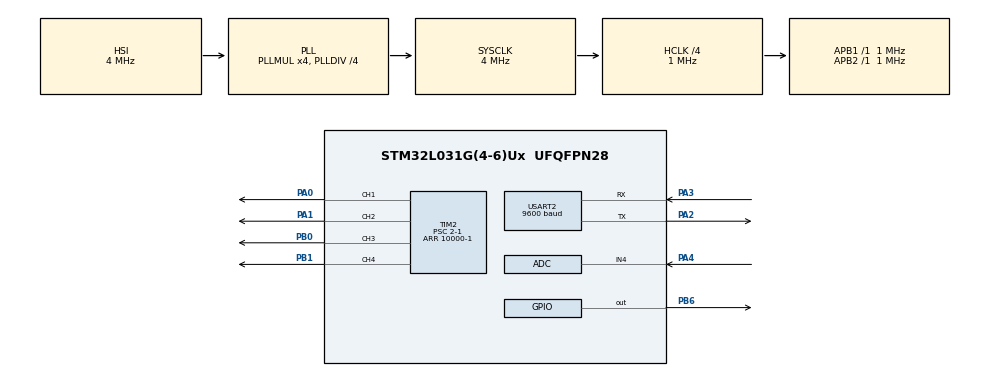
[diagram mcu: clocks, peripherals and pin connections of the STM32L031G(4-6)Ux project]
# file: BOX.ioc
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ADC.ClockPrescaler=ADC_CLOCK_SYNC_PCLK_DIV4
ADC.ContinuousConvMode=DISABLE
ADC.DMAContinuousRequests=DISABLE
ADC.ExternalTrigConv=ADC_SOFTWARE_START
ADC.SamplingTime=ADC_SAMPLETIME_3CYCLES_5
Mcu.Family=STM32L0
Mcu.Name=STM32L031G(4-6)Ux
Mcu.Package=UFQFPN28
PA0-CK_IN.Signal=S_TIM2_CH1
PA1.Signal=S_TIM2_CH2
PA13.Mode=Serial_Wire
PA13.Signal=SYS_SWDIO
PA14.Mode=Serial_Wire
PA14.Signal=SYS_SWCLK
PA2.Mode=Multiprocessor_communication
PA2.Signal=USART2_TX
PA3.Mode=Multiprocessor_communication
PA3.Signal=USART2_RX
PA4.Mode=IN4
PA4.Signal=ADC_IN4
PB0.Signal=S_TIM2_CH3
PB1.Signal=S_TIM2_CH4
PB6.GPIO_PuPd=GPIO_NOPULL
PB6.PinState=GPIO_PIN_RESET
PB6.Signal=GPIO_Output
ProjectManager.HeapSize=0x200
ProjectManager.StackSize=0x400
ProjectManager.TargetToolchain=STM32CubeIDE
RCC.ADCFreq_Value=4000000
RCC.AHBCLKDivider=RCC_SYSCLK_DIV4
RCC.AHBFreq_Value=1000000
RCC.APB1Freq_Value=1000000
RCC.APB1TimFreq_Value=1000000
RCC.APB2Freq_Value=1000000
RCC.APB2TimFreq_Value=1000000
RCC.HCLKFreq_Value=1000000
RCC.HSE_VALUE=8000000
RCC.HSI16_VALUE=16000000
RCC.HSIRCDiv=4
RCC.HSI_VALUE=4000000
RCC.LSE_VALUE=32768
RCC.MSI_VALUE=2097000
RCC.PLLDIV=RCC_PLLDIV_4
RCC.PLLMUL=RCC_PLLMUL_4
RCC.SYSCLKFreq_VALUE=4000000
RCC.SYSCLKSource=RCC_SYSCLKSOURCE_PLLCLK
RCC.VCOOutputFreq_Value=16000000
SH.S_TIM2_CH1.0=TIM2_CH1,PWM Generation1 CH1
SH.S_TIM2_CH2.0=TIM2_CH2,PWM Generation2 CH2
SH.S_TIM2_CH3.0=TIM2_CH3,PWM Generation3 CH3
SH.S_TIM2_CH4.0=TIM2_CH4,PWM Generation4 CH4
TIM2.AutoReloadPreload=TIM_AUTORELOAD_PRELOAD_DISABLE
TIM2.Channel-PWM\ Generation1\ CH1=TIM_CHANNEL_1
TIM2.Channel-PWM\ Generation2\ CH2=TIM_CHANNEL_2
TIM2.Channel-PWM\ Generation3\ CH3=TIM_CHANNEL_3
TIM2.Channel-PWM\ Generation4\ CH4=TIM_CHANNEL_4
TIM2.OC2Preload_PWM=DISABLE
TIM2.OC4Preload_PWM=DISABLE
TIM2.OCMode_PWM-PWM\ Generation2\ CH2=TIM_OCMODE_PWM1
TIM2.OCMode_PWM-PWM\ Generation4\ CH4=TIM_OCMODE_PWM1
TIM2.Period=10000-1
TIM2.Prescaler=2-1
TIM2.Pulse-PWM\ Generation2\ CH2=5000-1
TIM2.Pulse-PWM\ Generation3\ CH3=7500-1
TIM2.Pulse-PWM\ Generation4\ CH4=10000-1
USART2.BaudRate=9600
USART2.VirtualMode-Multiprocessor_communication=VM_ASYNC
VP_ADC_TempSens_Input.Mode=IN-TempSens
VP_TIM2_VS_ClockSourceINT.Mode=Internal
board=custom

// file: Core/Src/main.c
/* USER CODE BEGIN Header */
/**
 ******************************************************************************
 * @file           : main.c
 * @brief          : Main program body
 ******************************************************************************
 * @attention
 *
 * Copyright (c) 2024 STMicroelectronics.
 * All rights reserved.
 *
 * This software is licensed under terms that can be found in the LICENSE file
 * in the root directory of this software component.
 * If no LICENSE file comes with this software, it is provided AS-IS.
 *
 ******************************************************************************
 */
/*
 * 协议：
 * PWD:SERV:NUM:OPEN. 开NUM对应的锁
 * PWD:SERV:NUM:CLOSE. 关NUM对应的锁
 * PWD:SYS:0:VOL. 获取电压
 * RES:SUCCESS. 操作成功
 * RES:FAIL:xxx. 操作失败，xxx为错误原因
 * VOL:3900. 返回电压
 */
/* USER CODE END Header */
#include "main.h"
#include "adc.h"
#include "tim.h"
#include "usart.h"
#include "gpio.h"

/* USER CODE BEGIN Includes */
#include <stdio.h>
#include <string.h>
/* USER CODE END Includes */

void SystemClock_Config(void);

/* USER CODE BEGIN 0 */

typedef struct _REQ {
	char pwd[10];
	char type[6];
	char num[6];
	char action[10];
} _req;

void parse_req(char *req, _req *data) {
	if (NULL == req || strlen(req) == 0)
		return;

	bzero(data->pwd, sizeof(data->pwd));
	bzero(data->type, sizeof(data->type));
	bzero(data->num, sizeof(data->num));
	bzero(data->action, sizeof(data->action));

	char *cc = req;
	int i = 0;
	char *token;
	while ((token = strsep(&cc, ":")) != NULL) {
		if (i == 0) {
			if (strlen(token) < sizeof(data->pwd)) {
				strcpy(data->pwd, token);
			}
		} else if (i == 1) {
			if (strlen(token) < sizeof(data->type)) {
				strcpy(data->type, token);
			}
		} else if (i == 2) {
			if (strlen(token) < sizeof(data->num)) {
				strcpy(data->num, token);
			}
		} else if (i == 3) {
			if (strlen(token) < sizeof(data->action)) {
				strcpy(data->action, token);
			}
		} else {
			return;
		}
		i++;
	}
}

uint32_t set_serv_angle(uint32_t channel, int16_t angle) { //20ms 对应 10000 跳， 1ms 500 跳，0度1ms，180度2ms
	//计算脉冲
	if (angle < 0)
		angle = 0;
	if (angle > 180)
		angle = 180;
	uint32_t pulse = 500 + (angle * 500) / 180;

	HAL_GPIO_WritePin(GPIOB, GPIO_PIN_6, GPIO_PIN_SET); //舵机上电
	HAL_Delay(50); //等上电
	HAL_TIM_PWM_Start(&htim2, channel); //开始输出舵机信号
	HAL_Delay(50);
	__HAL_TIM_SET_COMPARE(&htim2, channel, pulse);
	HAL_Delay(500); //等舵机旋转
	HAL_GPIO_WritePin(GPIOB, GPIO_PIN_6, GPIO_PIN_RESET); //舵机下电
	HAL_TIM_PWM_Stop(&htim2, channel); //关闭舵机信号

	return pulse;
}

void send_data(char *str) {
	HAL_UART_Transmit(&huart2, (uint8_t*) str, strlen(str), 1000);
}

uint32_t get_bat_vol() { //满量程 3.12/0.6
	HAL_ADC_Start(&hadc);
	HAL_ADC_PollForConversion(&hadc, 1000);
	uint32_t vol = HAL_ADC_GetValue(&hadc);
	HAL_ADC_Stop(&hadc);
	return ((100 * vol / 4096) * 312 / 6);
}

int opened = 0;
void process(char* data_buff) {
	if (strlen(data_buff) < 4) {
		send_data("RES:FAIL:NOREQ.");
	}
	_req req_data;
	parse_req(data_buff, &req_data);
	if (strcmp(req_data.pwd, "0123") != 0) {
		send_data("RES:FAIL:PWD.");
		return;
	}
	if (strcmp(req_data.type, "SERV") == 0) {
		uint32_t TIM_CHANNEL_X = 0;
		if (strcmp(req_data.num, "1") == 0) {
			TIM_CHANNEL_X = TIM_CHANNEL_1;
		} else if (strcmp(req_data.num, "2") == 0) {
			TIM_CHANNEL_X = TIM_CHANNEL_2;
		} else if (strcmp(req_data.num, "3") == 0) {
			TIM_CHANNEL_X = TIM_CHANNEL_3;
		} else if (strcmp(req_data.num, "4") == 0) {
			TIM_CHANNEL_X = TIM_CHANNEL_4;
		} else {
			send_data("RES:FAIL:NUM.");
			return;
		}
		if (strcmp(req_data.action, "OPEN") == 0) {
			set_serv_angle(TIM_CHANNEL_X, 180);
			opened = 1;
		} else if(strcmp(req_data.action, "CLOSE") == 0) {
			set_serv_angle(TIM_CHANNEL_X, 0);
		} else {
			send_data("RES:FAIL:ACTION.");
			return;
		}
		send_data("RES:SUCCESS.");
	} else if (strcmp(req_data.type, "SYS") == 0) {
		if (strcmp(req_data.action, "VOL") == 0) {
			uint32_t v = get_bat_vol();
			char v_buf[32] = {0};
			sprintf(v_buf, "VOL:%d.", (int)v);
			send_data(v_buf);
		}
	} else {
		send_data("RES:FAIL:TYPE.");
		return;
	}
}

/* USER CODE END 0 */

int main(void) {

	/* MCU Configuration--------------------------------------------------------*/

	/* Reset of all peripherals, Initializes the Flash interface and the Systick. */
	HAL_Init();

	/* Configure the system clock */
	SystemClock_Config();

	/* Initialize all configured peripherals */
	MX_GPIO_Init();
	MX_USART2_UART_Init();
	MX_TIM2_Init();
	MX_ADC_Init();
	/* USER CODE BEGIN 2 */
	HAL_Delay(1000);
	set_serv_angle(TIM_CHANNEL_1, 0);
	set_serv_angle(TIM_CHANNEL_2, 0);
	set_serv_angle(TIM_CHANNEL_3, 0);
	set_serv_angle(TIM_CHANNEL_4, 0);

	char data_buff[40] = { 0 };
	int index = 0;
	char rx_buff[1] = {0};
	/* USER CODE END 2 */

	/* Infinite loop */
	/* USER CODE BEGIN WHILE */
	while (1) {
		if (opened > 0) { //门打开状态
			opened++;
			if (opened > 60) { //打开太久了
				set_serv_angle(TIM_CHANNEL_1, 0);
				set_serv_angle(TIM_CHANNEL_2, 0);
				set_serv_angle(TIM_CHANNEL_3, 0);
				opened = 0;
			}
		}
		if (HAL_UART_Receive(&huart2, (uint8_t*)rx_buff, sizeof(rx_buff), 1000) == HAL_OK) {
			if (rx_buff[0] != '.' && index < sizeof(data_buff)) {
				data_buff[index++] = rx_buff[0];
			} else if (rx_buff[0] == '.') {
				process(data_buff);
				bzero(data_buff, sizeof(data_buff));
				index = 0;
			} else {
				send_data("RES:FAIL:LEN.");
			}
		}
		/* USER CODE END WHILE */

	}
}

void SystemClock_Config(void) {
	RCC_OscInitTypeDef RCC_OscInitStruct = { 0 };
	RCC_ClkInitTypeDef RCC_ClkInitStruct = { 0 };
	RCC_PeriphCLKInitTypeDef PeriphClkInit = { 0 };

	/** Configure the main internal regulator output voltage
	 */
	__HAL_PWR_VOLTAGESCALING_CONFIG(PWR_REGULATOR_VOLTAGE_SCALE1);

	/** Initializes the RCC Oscillators according to the specified parameters
	 * in the RCC_OscInitTypeDef structure.
	 */
	RCC_OscInitStruct.OscillatorType = RCC_OSCILLATORTYPE_HSI;
	RCC_OscInitStruct.HSIState = RCC_HSI_DIV4;
	RCC_OscInitStruct.HSICalibrationValue = RCC_HSICALIBRATION_DEFAULT;
	RCC_OscInitStruct.PLL.PLLState = RCC_PLL_ON;
	RCC_OscInitStruct.PLL.PLLSource = RCC_PLLSOURCE_HSI;
	RCC_OscInitStruct.PLL.PLLMUL = RCC_PLLMUL_4;
	RCC_OscInitStruct.PLL.PLLDIV = RCC_PLLDIV_4;
	if (HAL_RCC_OscConfig(&RCC_OscInitStruct) != HAL_OK) {
		Error_Handler();
	}

	/** Initializes the CPU, AHB and APB buses clocks
	 */
	RCC_ClkInitStruct.ClockType = RCC_CLOCKTYPE_HCLK | RCC_CLOCKTYPE_SYSCLK
			| RCC_CLOCKTYPE_PCLK1 | RCC_CLOCKTYPE_PCLK2;
	RCC_ClkInitStruct.SYSCLKSource = RCC_SYSCLKSOURCE_PLLCLK;
	RCC_ClkInitStruct.AHBCLKDivider = RCC_SYSCLK_DIV4;
	RCC_ClkInitStruct.APB1CLKDivider = RCC_HCLK_DIV1;
	RCC_ClkInitStruct.APB2CLKDivider = RCC_HCLK_DIV1;

	if (HAL_RCC_ClockConfig(&RCC_ClkInitStruct, FLASH_LATENCY_0) != HAL_OK) {
		Error_Handler();
	}
	PeriphClkInit.PeriphClockSelection = RCC_PERIPHCLK_USART2;
	PeriphClkInit.Usart2ClockSelection = RCC_USART2CLKSOURCE_PCLK1;
	if (HAL_RCCEx_PeriphCLKConfig(&PeriphClkInit) != HAL_OK) {
		Error_Handler();
	}
}

void Error_Handler(void) {
	__disable_irq();
	while (1) {
	}
}
